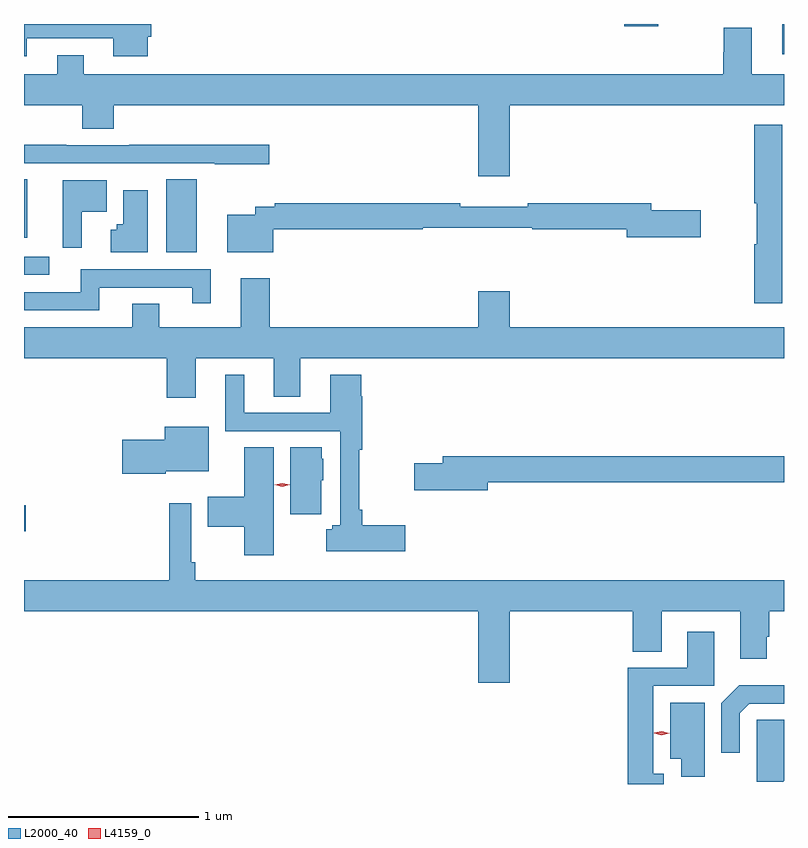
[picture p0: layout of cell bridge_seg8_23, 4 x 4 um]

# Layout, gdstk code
import gdstk
lib = gdstk.Library(unit=1e-6, precision=1e-09)
def R(c, l, rs):  # rectangles x0, y0, x1, y1
    for r in rs: c.add(gdstk.rectangle(r[:2], r[2:], *l))
def P(c, l, *ps):  # polygons
    for p in ps: c.add(gdstk.Polygon(p, *l))
L2000_40 = (2000, 40)
L4159_0 = (4159, 0)

bridge_seg8_23 = lib.new_cell('bridge_seg8_23')
R(bridge_seg8_23, L2000_40, [(965.812,1143.563,965.821,1143.698), (965.812,1144.911,965.944,1145.007), (966.56,1145.03,966.721,1145.414), (965.812,1145.106,965.83,1145.414), (969.803,1146.072,969.812,1146.232), (968.972,1146.219,969.15,1146.232)])
P(bridge_seg8_23, L2000_40, [(965.827,1146.156),(966.281,1146.156),(966.281,1146.062),(966.463,1146.062),(966.463,1146.166),(966.482,1146.166),(966.482,1146.232),(965.812,1146.232),(965.812,1146.062),(965.827,1146.062)],
  [(968.368,1145.804),(969.812,1145.804),(969.812,1145.968),(969.643,1145.968),(969.643,1146.211),(969.496,1146.211),(969.496,1146.084),(969.491,1146.084),(969.491,1145.968),(966.127,1145.968),(966.127,1146.067),(965.987,1146.067),(965.987,1145.968),(965.812,1145.968),(965.812,1145.804),(966.119,1145.804),(966.119,1145.68),(966.284,1145.68),(966.284,1145.804),(968.204,1145.804),(968.204,1145.43),(968.368,1145.43)],
  [(969.802,1145.701),(969.656,1145.701),(969.656,1145.288),(969.668,1145.288),(969.668,1145.073),(969.656,1145.073),(969.656,1144.761),(969.802,1144.761)],
  [(967.102,1145.597),(966.367,1145.597),(966.367,1145.595),(966.035,1145.595),(966.035,1145.597),(965.812,1145.597),(965.812,1145.499),(966.817,1145.499),(966.817,1145.494),(967.102,1145.494)],
  [(966.115,1145.245),(966.247,1145.245),(966.247,1145.41),(966.017,1145.41),(966.017,1145.055),(966.115,1145.055)],
  [(966.463,1145.356),(966.335,1145.356),(966.335,1145.178),(966.3,1145.178),(966.3,1145.15),(966.269,1145.15),(966.269,1145.03),(966.463,1145.03)],
  [(967.125,1145.152),(967.911,1145.152),(967.911,1145.16),(968.488,1145.16),(968.488,1145.152),(968.984,1145.152),(968.984,1145.11),(969.373,1145.11),(969.373,1145.252),(969.112,1145.252),(969.112,1145.288),(968.464,1145.288),(968.464,1145.269),(968.108,1145.269),(968.108,1145.288),(967.132,1145.288),(967.132,1145.271),(967.029,1145.271),(967.029,1145.227),(966.881,1145.227),(966.881,1145.03),(967.125,1145.03)],
  [(966.208,1144.845),(966.698,1144.845),(966.698,1144.761),(966.796,1144.761),(966.796,1144.941),(966.11,1144.941),(966.11,1144.821),(965.812,1144.821),(965.812,1144.725),(966.208,1144.725)],
  [(967.106,1144.894),(966.953,1144.894),(966.953,1144.636),(966.523,1144.636),(966.523,1144.76),(966.383,1144.76),(966.383,1144.636),(965.812,1144.636),(965.812,1144.472),(966.563,1144.472),(966.563,1144.266),(966.715,1144.266),(966.715,1144.472),(967.127,1144.472),(967.127,1144.27),(967.267,1144.27),(967.267,1144.472),(969.812,1144.472),(969.812,1144.636),(968.368,1144.636),(968.368,1144.825),(968.204,1144.825),(968.204,1144.636),(967.106,1144.636)],
  [(967.819,1143.593),(967.592,1143.593),(967.592,1143.676),(967.577,1143.676),(967.577,1143.992),(967.592,1143.992),(967.592,1144.274),(967.586,1144.274),(967.586,1144.387),(967.424,1144.387),(967.424,1144.185),(966.97,1144.185),(966.97,1144.387),(966.872,1144.387),(966.872,1144.089),(967.476,1144.089),(967.476,1143.593),(967.434,1143.593),(967.434,1143.572),(967.403,1143.572),(967.403,1143.458),(967.819,1143.458)],
  [(966.558,1143.878),(966.784,1143.878),(966.784,1144.111),(966.554,1144.111),(966.554,1144.044),(966.33,1144.044),(966.33,1143.866),(966.558,1143.866)],
  [(967.126,1144.004),(966.971,1144.004),(966.971,1143.745),(966.778,1143.745),(966.778,1143.587),(966.971,1143.587),(966.971,1143.435),(967.126,1143.435)],
  [(967.377,1143.831),(967.387,1143.831),(967.387,1143.945),(967.378,1143.945),(967.378,1144.004),(967.214,1144.004),(967.214,1143.651),(967.377,1143.651)],
  [(968.254,1143.82),(969.812,1143.82),(969.812,1143.956),(968.015,1143.956),(968.015,1143.92),(967.866,1143.92),(967.866,1143.778),(968.254,1143.778)],
  [(968.368,1143.14),(969.017,1143.14),(969.017,1142.929),(969.169,1142.929),(969.169,1143.14),(969.581,1143.14),(969.581,1142.892),(969.721,1142.892),(969.721,1143.007),(969.734,1143.007),(969.734,1143.14),(969.812,1143.14),(969.812,1143.304),(966.713,1143.304),(966.713,1143.4),(966.693,1143.4),(966.693,1143.709),(966.577,1143.709),(966.577,1143.304),(965.812,1143.304),(965.812,1143.14),(968.204,1143.14),(968.204,1142.766),(968.368,1142.766)],
  [(969.178,1142.285),(969.124,1142.285),(969.124,1142.748),(969.445,1142.748),(969.445,1143.034),(969.302,1143.034),(969.302,1142.844),(968.99,1142.844),(968.99,1142.232),(969.178,1142.232)],
  [(969.579,1142.604),(969.63,1142.655),(969.812,1142.655),(969.812,1142.752),(969.577,1142.752),(969.483,1142.658),(969.483,1142.397),(969.579,1142.397)],
  [(969.394,1142.659),(969.212,1142.659),(969.212,1142.366),(969.272,1142.366),(969.272,1142.271),(969.394,1142.271)],
  [(969.812,1142.25),(969.812,1142.57),(969.669,1142.57),(969.669,1142.459),(969.668,1142.459),(969.668,1142.245),(969.807,1142.245)])
P(bridge_seg8_23, L4159_0, [(969.167,1142.489),(969.128,1142.5),(969.128,1142.5),(969.128,1142.501),(969.168,1142.509),(969.208,1142.498),(969.208,1142.498),(969.208,1142.498)],
  [(967.17,1143.796),(967.131,1143.806),(967.131,1143.806),(967.131,1143.806),(967.17,1143.816),(967.21,1143.807),(967.21,1143.807),(967.21,1143.806)])

lib.write_gds('bridge_seg8_23.gds')
